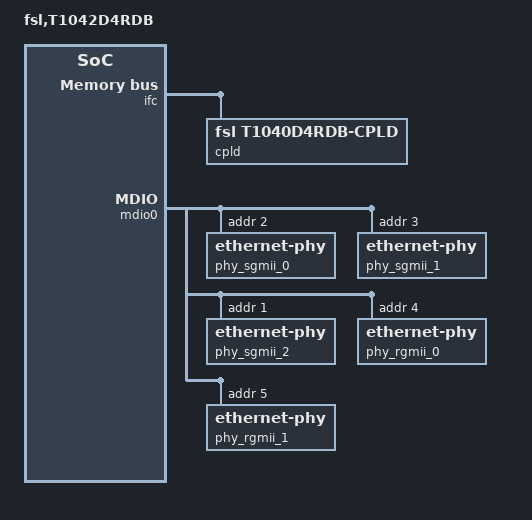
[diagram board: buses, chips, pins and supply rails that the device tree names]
/*
 * T1042D4RDB Device Tree Source
 *
 * Copyright 2015 Freescale Semiconductor Inc.
 *
 * Redistribution and use in source and binary forms, with or without
 * modification, are permitted provided that the following conditions are met:
 *     * Redistributions of source code must retain the above copyright
 *	 notice, this list of conditions and the following disclaimer.
 *     * Redistributions in binary form must reproduce the above copyright
 *	 notice, this list of conditions and the following disclaimer in the
 *	 documentation and/or other materials provided with the distribution.
 *     * Neither the name of Freescale Semiconductor nor the
 *	 names of its contributors may be used to endorse or promote products
 *	 derived from this software without specific prior written permission.
 *
 *
 * ALTERNATIVELY, this software may be distributed under the terms of the
 * GNU General Public License ("GPL") as published by the Free Software
 * Foundation, either version 2 of that License or (at your option) any
 * later version.
 *
 * THIS SOFTWARE IS PROVIDED BY Freescale Semiconductor "AS IS" AND ANY
 * EXPRESS OR IMPLIED WARRANTIES, INCLUDING, BUT NOT LIMITED TO, THE IMPLIED
 * WARRANTIES OF MERCHANTABILITY AND FITNESS FOR A PARTICULAR PURPOSE ARE
 * DISCLAIMED. IN NO EVENT SHALL Freescale Semiconductor BE LIABLE FOR ANY
 * DIRECT, INDIRECT, INCIDENTAL, SPECIAL, EXEMPLARY, OR CONSEQUENTIAL DAMAGES
 * (INCLUDING, BUT NOT LIMITED TO, PROCUREMENT OF SUBSTITUTE GOODS OR SERVICES;
 * LOSS OF USE, DATA, OR PROFITS; OR BUSINESS INTERRUPTION) HOWEVER CAUSED AND
 * ON ANY THEORY OF LIABILITY, WHETHER IN CONTRACT, STRICT LIABILITY, OR TORT
 * (INCLUDING NEGLIGENCE OR OTHERWISE) ARISING IN ANY WAY OUT OF THE USE OF THIS
 * SOFTWARE, EVEN IF ADVISED OF THE POSSIBILITY OF SUCH DAMAGE.
 */

/include/ "t104xsi-pre.dtsi"
/include/ "t104xd4rdb.dtsi"

/ {
	model = "fsl,T1042D4RDB";
	compatible = "fsl,T1042D4RDB";
	#address-cells = <2>;
	#size-cells = <2>;
	interrupt-parent = <&mpic>;

	ifc: localbus@ffe124000 {
		cpld@3,0 {
			compatible = "fsl,t1040d4rdb-cpld",
					"fsl,deepsleep-cpld";
		};
	};

	soc: soc@ffe000000 {
		fman0: fman@400000 {
			ethernet@e0000 {
				phy-handle = <&phy_sgmii_0>;
				phy-connection-type = "sgmii";
			};

			ethernet@e2000 {
				phy-handle = <&phy_sgmii_1>;
				phy-connection-type = "sgmii";
			};

			ethernet@e4000 {
				phy-handle = <&phy_sgmii_2>;
				phy-connection-type = "sgmii";
			};

			ethernet@e6000 {
				phy-handle = <&phy_rgmii_0>;
				phy-connection-type = "rgmii";
			};

			ethernet@e8000 {
				phy-handle = <&phy_rgmii_1>;
				phy-connection-type = "rgmii";
			};

			mdio0: mdio@fc000 {
				phy_sgmii_0: ethernet-phy@2 {
					reg = <0x02>;
				};

				phy_sgmii_1: ethernet-phy@3 {
					reg = <0x03>;
				};

				phy_sgmii_2: ethernet-phy@1 {
					reg = <0x01>;
				};

				phy_rgmii_0: ethernet-phy@4 {
					reg = <0x04>;
				};

				phy_rgmii_1: ethernet-phy@5 {
					reg = <0x05>;
				};
			};
		};
	};

};

#include "t1042si-post.dtsi"
